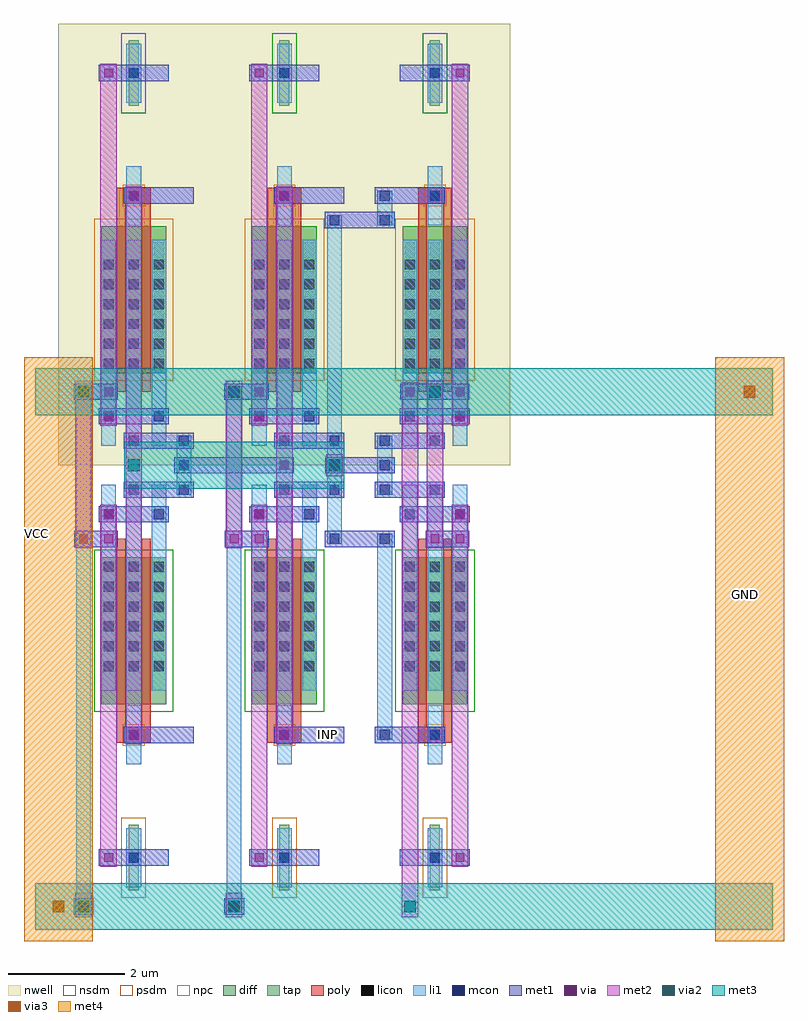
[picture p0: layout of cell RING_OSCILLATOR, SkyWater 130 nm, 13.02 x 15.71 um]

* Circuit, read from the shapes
.subckt RING_OSCILLATOR GND INP VCC
XM1 INP n1 GND GND sky130_fd_pr__nfet_01v8 w=2.52 l=0.15 m=2
XM2 n2 INP GND GND sky130_fd_pr__nfet_01v8 w=2.52 l=0.15 m=2
XM3 n1 n2 GND GND sky130_fd_pr__nfet_01v8 w=2.52 l=0.15 m=2
XM4 INP n1 VCC VCC sky130_fd_pr__pfet_01v8 w=2.52 l=0.15 m=2
XM5 n2 INP VCC VCC sky130_fd_pr__pfet_01v8 w=2.52 l=0.15 m=2
XM6 n1 n2 VCC VCC sky130_fd_pr__pfet_01v8 w=2.52 l=0.15 m=2
.ends

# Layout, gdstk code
import gdstk
lib = gdstk.Library(unit=1e-6, precision=1e-09)
def R(c, l, rs):  # rectangles x0, y0, x1, y1
    for r in rs: c.add(gdstk.rectangle(r[:2], r[2:], *l))
def A(c, l, x, y, w, h, nx, ny, dx, dy):  # array of equal rectangles
    R(c, l, [(x+i*dx, y+j*dy, x+i*dx+w, y+j*dy+h) for i in range(nx) for j in range(ny)])
nwell = (64, 20)
diff = (65, 20)
tap = (65, 44)
poly = (66, 20)
licon = (66, 44)
li1 = (67, 20)
mcon = (67, 44)
met1 = (68, 20)
via = (68, 44)
met2 = (69, 20)
via2 = (69, 44)
met3 = (70, 20)
via3 = (70, 44)
met4 = (71, 20)
nsdm = (93, 44)
psdm = (94, 20)
npc = (95, 20)

ring_oscillator = lib.new_cell('RING_OSCILLATOR')
R(ring_oscillator, nwell, [(0,7.56,7.74,15.12)])
A(ring_oscillator, diff, 0.735, 3.465, 1.11, 2.52, 3, 2, 2.58, 5.67)
A(ring_oscillator, tap, 1.205, 0.28, 0.17, 1.12, 3, 2, 2.58, 13.44)
A(ring_oscillator, poly, 1, 2.805, 0.58, 0.27, 3, 2, 2.58, 9.24)
R(ring_oscillator, poly, [(1,3.075,1.15,6.3), (1.43,3.075,1.58,6.3), (3.58,3.075,3.73,6.3), (4.01,3.075,4.16,6.3), (6.16,3.075,6.31,6.3), (6.59,3.075,6.74,6.3), (1,8.82,1.15,12.045), (1.43,8.82,1.58,12.045), (3.58,8.82,3.73,12.045), (4.01,8.82,4.16,12.045), (6.16,8.82,6.31,12.045), (6.59,8.82,6.74,12.045)])
A(ring_oscillator, licon, 1.205, 0.755, 0.17, 0.17, 3, 2, 2.58, 2.1)
A(ring_oscillator, licon, 0.775, 4.035, 0.17, 0.17, 3, 6, 0.43, 0.34)
A(ring_oscillator, licon, 3.355, 4.035, 0.17, 0.17, 3, 6, 0.43, 0.34)
A(ring_oscillator, licon, 5.935, 4.035, 0.17, 0.17, 3, 6, 0.43, 0.34)
A(ring_oscillator, licon, 0.775, 9.215, 0.17, 0.17, 3, 6, 0.43, 0.34)
A(ring_oscillator, licon, 3.355, 9.215, 0.17, 0.17, 3, 6, 0.43, 0.34)
A(ring_oscillator, licon, 5.935, 9.215, 0.17, 0.17, 3, 6, 0.43, 0.34)
A(ring_oscillator, licon, 1.205, 12.095, 0.17, 0.17, 3, 2, 2.58, 2.1)
A(ring_oscillator, li1, 1.165, 0.335, 0.25, 1.01, 3, 2, 2.58, 2.1)
A(ring_oscillator, li1, 0.735, 3.695, 0.25, 3.53, 3, 2, 0.43, 4.2)
A(ring_oscillator, li1, 3.315, 3.695, 0.25, 3.53, 3, 2, 0.43, 4.2)
A(ring_oscillator, li1, 5.895, 3.695, 0.25, 3.53, 3, 2, 0.43, 4.2)
A(ring_oscillator, li1, 1.165, 11.675, 0.25, 1.01, 3, 2, 2.58, 2.1)
R(ring_oscillator, li1, [(0.305,-0.085,0.555,8.905), (2.885,-0.085,3.135,8.905), (5.465,2.855,5.715,6.385), (4.605,6.215,4.855,11.845), (2.025,7.055,2.275,8.065), (5.465,7.055,5.715,8.065), (5.465,11.675,5.715,12.265)])
A(ring_oscillator, mcon, 1.205, 0.755, 0.17, 0.17, 3, 2, 2.58, 13.44)
A(ring_oscillator, mcon, 2.065, 7.055, 0.17, 0.17, 1, 3, 0, 0.42)
A(ring_oscillator, mcon, 3.785, 7.055, 0.17, 0.17, 4, 2, 0.86, 0.84)
R(ring_oscillator, mcon, [(0.345,-0.085,0.515,0.085), (2.925,-0.085,3.095,0.085), (1.205,2.855,1.375,3.025), (3.785,2.855,3.955,3.025), (5.505,2.855,5.675,3.025), (6.365,2.855,6.535,3.025), (4.645,6.215,4.815,6.385), (5.505,6.215,5.675,6.385), (0.775,6.635,0.945,6.805), (1.635,6.635,1.805,6.805), (3.355,6.635,3.525,6.805), (4.215,6.635,4.385,6.805), (5.935,6.635,6.105,6.805), (6.795,6.635,6.965,6.805), (1.205,7.055,1.375,7.225), (5.505,7.475,5.675,7.645), (1.205,7.895,1.375,8.065), (0.775,8.315,0.945,8.485), (1.635,8.315,1.805,8.485), (3.355,8.315,3.525,8.485), (4.215,8.315,4.385,8.485), (5.935,8.315,6.105,8.485), (6.795,8.315,6.965,8.485), (0.345,8.735,0.515,8.905), (2.925,8.735,3.095,8.905), (4.645,11.675,4.815,11.845), (5.505,11.675,5.675,11.845), (1.205,12.095,1.375,12.265), (3.785,12.095,3.955,12.265), (5.505,12.095,5.675,12.265), (6.365,12.095,6.535,12.265)])
A(ring_oscillator, met1, 0.69, 0.7, 1.2, 0.28, 3, 2, 2.58, 5.88)
A(ring_oscillator, met1, 0.69, 8.26, 1.2, 0.28, 3, 2, 2.58, 5.88)
R(ring_oscillator, met1, [(0.26,-0.14,0.6,0.14), (2.84,-0.14,3.18,0.14), (1.12,2.8,2.32,3.08), (3.7,2.8,4.9,3.08), (5.42,2.8,6.62,3.08), (0.27,6.16,1.02,6.44), (2.85,6.16,3.6,6.44), (4.56,6.16,5.76,6.44), (6.29,6.16,7.04,6.44), (1.12,7,2.32,7.28), (3.7,7,4.9,7.28), (5.42,7,6.62,7.28), (1.98,7.42,4.03,7.7), (4.57,7.42,5.76,7.7), (1.12,7.84,2.32,8.12), (3.7,7.84,4.9,8.12), (5.42,7.84,6.62,8.12), (0.26,8.68,1.02,8.96), (2.84,8.68,3.6,8.96), (5.86,8.68,7.04,8.96), (4.56,11.62,5.76,11.9), (1.12,12.04,2.32,12.32), (3.7,12.04,4.9,12.32), (5.42,12.04,6.62,12.32)])
A(ring_oscillator, via, 3.795, 2.865, 0.15, 0.15, 1, 3, 0, 4.62)
A(ring_oscillator, via, 0.785, 8.745, 0.15, 0.15, 3, 1, 2.58, 0)
R(ring_oscillator, via, [(0.355,-0.075,0.505,0.075), (2.935,-0.075,3.085,0.075), (0.785,0.765,0.935,0.915), (3.365,0.765,3.515,0.915), (6.805,0.765,6.955,0.915), (1.215,2.865,1.365,3.015), (0.355,6.225,0.505,6.375), (0.785,6.225,0.935,6.375), (2.935,6.225,3.085,6.375), (3.365,6.225,3.515,6.375), (6.375,6.225,6.525,6.375), (6.805,6.225,6.955,6.375), (0.785,6.645,0.935,6.795), (3.365,6.645,3.515,6.795), (6.805,6.645,6.955,6.795), (4.655,7.485,4.805,7.635), (0.785,8.325,0.935,8.475), (3.365,8.325,3.515,8.475), (6.805,8.325,6.955,8.475), (6.805,8.745,6.955,8.895), (1.215,12.105,1.365,12.255), (0.785,14.205,0.935,14.355), (3.365,14.205,3.515,14.355), (6.805,14.205,6.955,14.355)])
R(ring_oscillator, met2, [(0.29,-0.185,0.57,0.24), (2.87,-0.185,3.15,0.24), (5.88,-0.185,6.16,8.98), (0.72,0.68,1,6.88), (3.3,0.68,3.58,6.88), (6.74,0.68,7.02,6.88), (1.15,2.78,1.43,12.34), (3.73,2.78,4.01,12.34), (0.29,6.14,0.57,9.005), (2.87,6.14,3.15,9.005), (6.31,6.14,6.59,9.005), (4.59,7.375,4.87,7.745), (0.72,8.24,1,14.44), (3.3,8.24,3.58,14.44), (6.74,8.24,7.02,14.44)])
R(ring_oscillator, via2, [(0.33,-0.1,0.53,0.1), (2.91,-0.1,3.11,0.1), (5.92,-0.1,6.12,0.1), (1.19,7.46,1.39,7.66), (4.63,7.46,4.83,7.66), (0.33,8.72,0.53,8.92), (2.91,8.72,3.11,8.92), (6.35,8.72,6.55,8.92)])
R(ring_oscillator, met3, [(-0.4,-0.4,12.24,0.4), (1.125,7.16,4.895,7.96), (-0.4,8.42,12.24,9.22)])
R(ring_oscillator, via3, [(-0.1,-0.1,0.1,0.1), (11.74,8.72,11.94,8.92)])
R(ring_oscillator, met4, [(-0.59,-0.59,0.59,9.41), (11.25,-0.59,12.43,9.41)])
A(ring_oscillator, nsdm, 0.61, 3.34, 1.36, 2.77, 3, 1, 2.58, 0)
A(ring_oscillator, nsdm, 1.08, 13.595, 0.42, 1.37, 3, 1, 2.58, 0)
A(ring_oscillator, psdm, 1.08, 0.155, 0.42, 1.37, 3, 1, 2.58, 0)
A(ring_oscillator, psdm, 0.61, 9.01, 1.36, 2.77, 3, 1, 2.58, 0)
A(ring_oscillator, npc, 1.105, 2.755, 0.37, 0.37, 3, 2, 2.58, 9.24)
ring_oscillator.add(gdstk.Label('VCC', (-0.37,6.39), layer=71, texttype=5))
ring_oscillator.add(gdstk.Label('GND', (11.77,5.35), layer=71, texttype=5))
ring_oscillator.add(gdstk.Label('INP', (4.61,2.95), layer=68, texttype=5))

lib.write_gds('RING_OSCILLATOR.gds')
